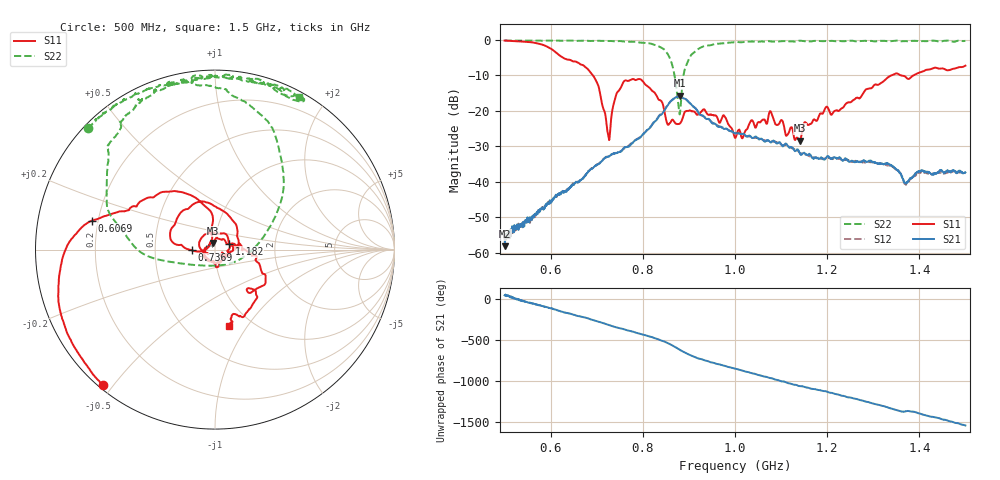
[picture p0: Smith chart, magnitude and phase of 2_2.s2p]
!Agilent Technologies,E8364B,US42250235,A.06.04.32
!Agilent E8364B: A.06.04.32
!Date: Friday, January 15, 2021 16:11:30
!Correction: S11(Full 2 Port(1,2)) S21(Full 2 Port(1,2)) S12(Full 2 Port(1,2)) S22(Full 2 Port(1,2))
!S2P File: Measurements: S11, S21, S12, S22:
# Hz S  dB  R 50
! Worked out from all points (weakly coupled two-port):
!   1601 points, 500 MHz to 1.5 GHz, reference 50 ohm
!   highest |S21| = -15.74 dB at 880 MHz (marker M1); lowest = -58.1 dB at 500.6 MHz (marker M2)
!   lowest |S11| = -28.3 dB at 1.141 GHz (marker M3), VSWR 1.08, Z = 48.7 + j3.56 ohm
!   |S11| at or under -10 dB: 692 MHz to 1.339 GHz (647.2 MHz wide, 63.7 % of centre); 1.36 GHz to 1.387 GHz (26.54 MHz wide, 1.93 % of centre)
!   |S22| runs from -21.0 to -0.1 dB; largest |S21 - S12| = 0.0055
!   S11 on the Smith chart (normalised r, x): 500 MHz: 0.01, -0.47; 606.9 MHz: 0.18, +0.11; 736.9 MHz: 0.77, -0.01; 1.182 GHz: 1.16, +0.08; 1.5 GHz: 0.79, -0.83
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5e8  -0.17 -129.6  -54.99 44.7  -55.87 47.5  -0.16 136.3
5.00625e8  -0.18 -129.8  -58.12 41.4  -56.23 45.3  -0.17 136.2
5.65625e8  -0.80 -163.1  -49.00 -62.4  -49.13 -63.4  -0.16 129.5
6.06875e8  -3.06 166.7  -44.72 -124.3  -44.66 -123.5  -0.19 124.9
6.66875e8  -6.97 138.7  -39.23 142.7  -39.31 142.3  -0.22 116.5
7.00625e8  -12.06 103.0  -35.18 87.4  -35.10 86.5  -0.21 112.9
7.25e8  -26.85 128.6  -32.89 43.2  -32.79 43.3  -0.33 109.3
7.36875e8  -17.93 -178.1  -31.97 22.0  -32.00 22.6  -0.37 107.1
7.76875e8  -11.08 134.5  -29.10 -37.7  -29.05 -38.4  -0.52 97.7
8.3375e8  -16.74 32.2  -21.73 -133.7  -21.62 -134.6  -1.76 75.0
8.61875e8  -22.78 -66.3  -17.09 157.6  -17.08 157.1  -6.25 39.3
8.8e8  -23.56 -166.5  -15.74 100.4  -15.76 99.3  -21.00 -88.7
8.91875e8  -20.22 150.4  -16.59 63.4  -16.58 62.3  -7.94 -176.7
9.06875e8  -20.12 116.8  -18.46 23.5  -18.50 22.6  -3.95 159.8
1e9  -27.57 -25.1  -26.33 -131.8  -26.21 -133.4  -0.57 116.1
1.0775e9  -20.18 -85.7  -28.90 112.3  -28.44 110.4  -0.39 105.1
1.14125e9  -28.34 107.6  -32.12 12.6  -31.91 12.0  -0.21 96.3
1.166875e9  -23.32 54.7  -33.17 -19.0  -33.03 -19.0  -0.35 91.5
1.181875e9  -21.53 22.8  -33.43 -33.3  -33.26 -35.9  -0.27 92.6
1.33375e9  -10.41 -26.6  -34.97 109.9  -35.32 110.3  -0.39 77.1
1.37125e9  -10.55 -52.3  -40.45 67.2  -40.82 65.3  -0.32 73.5
1.5e9  -7.24 -79.6  -37.35 -106.5  -37.67 -109.3  -0.26 61.2
